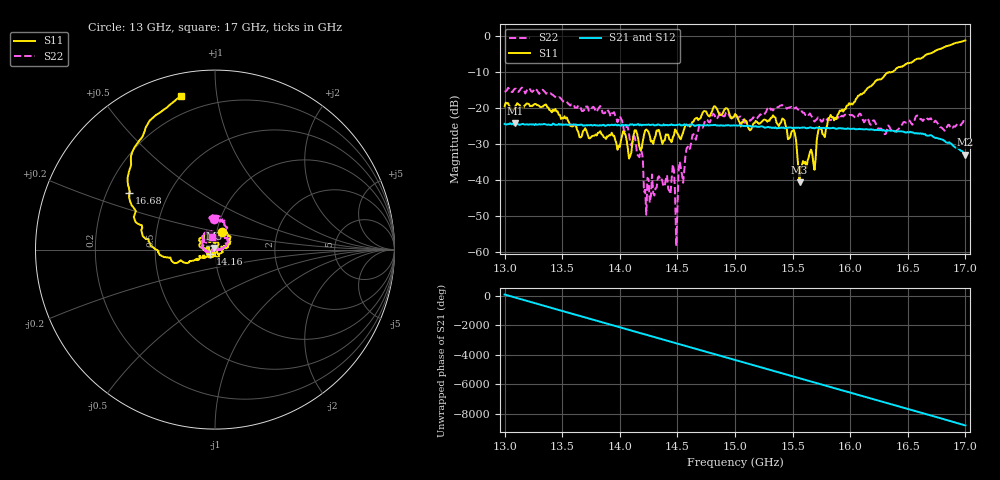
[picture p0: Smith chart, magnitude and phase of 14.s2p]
!Keysight Technologies,P9374A,MY57211807,A.19.30.04
!Date: Friday, May 01, 2026 14:08:41
!Correction: S11(C  2-Port  )
!S21(C  2-Port  )
!S12(C  2-Port  )
!S22(C  2-Port  )
!S2P File: Measurements: S11, S21, S12, S22:
# Hz S  RI  R 50
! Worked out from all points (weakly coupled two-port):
!   401 points, 13 GHz to 17 GHz, reference 50 ohm
!   highest |S21| = -24.14 dB at 13.09 GHz (marker M1); lowest = -33.0 dB at 17 GHz (marker M2)
!   lowest |S11| = -40.6 dB at 15.56 GHz (marker M3), VSWR 1.02, Z = 49.6 + j0.831 ohm
!   |S11| at or under -10 dB: start of sweep to 16.34 GHz; 16.34551 GHz to 16.35378 GHz (8.271 MHz wide, 0.0506 % of centre)
!   |S22| runs from -58.4 to -14.3 dB; largest |S21 - S12| = 0.0026
!   S11 on the Smith chart (normalised r, x): 13 GHz: 1.06, +0.21; 14.16 GHz: 0.94, -0.04; 16.68 GHz: 0.29, +0.28; 17 GHz: 0.11, +0.80
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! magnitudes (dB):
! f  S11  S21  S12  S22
! 13 GHz  -19.5  -24.4  -24.3  -15.5
! 13.09 GHz  -19.6  -24.1  -24.1  -14.6
! 13.36 GHz  -19.0  -24.6  -24.5  -15.9
! 13.67 GHz  -27.9  -24.6  -24.5  -20.7
! 13.95 GHz  -27.7  -24.7  -24.7  -21.1
! 14.09 GHz  -33.3  -24.5  -24.5  -29.7
! 14.16 GHz  -28.7  -24.4  -24.4  -33.3
! 14.24 GHz  -26.2  -24.6  -24.7  -39.4
! 14.34 GHz  -26.0  -24.6  -24.6  -39.0
! 14.46 GHz  -28.2  -24.7  -24.7  -35.7
! 14.49 GHz  -26.4  -24.7  -24.7  -58.4
! 14.59 GHz  -24.8  -24.9  -24.8  -30.7
! 14.69 GHz  -22.9  -24.7  -24.7  -24.8
! 15 GHz  -21.6  -24.8  -24.8  -22.2
! 15.42 GHz  -23.1  -25.4  -25.3  -19.5
! 15.51 GHz  -26.0  -25.5  -25.5  -20.0
! 15.56 GHz  -40.6  -25.5  -25.5  -21.0
! 15.67 GHz  -32.7  -25.5  -25.5  -22.6
! 15.83 GHz  -21.9  -25.6  -25.5  -23.3
! 16.34 GHz  -10.0  -26.2  -26.2  -25.1
! 16.68 GHz  -4.8  -27.7  -27.6  -23.2
! 17 GHz  -1.1  -33.0  -32.9  -22.7
